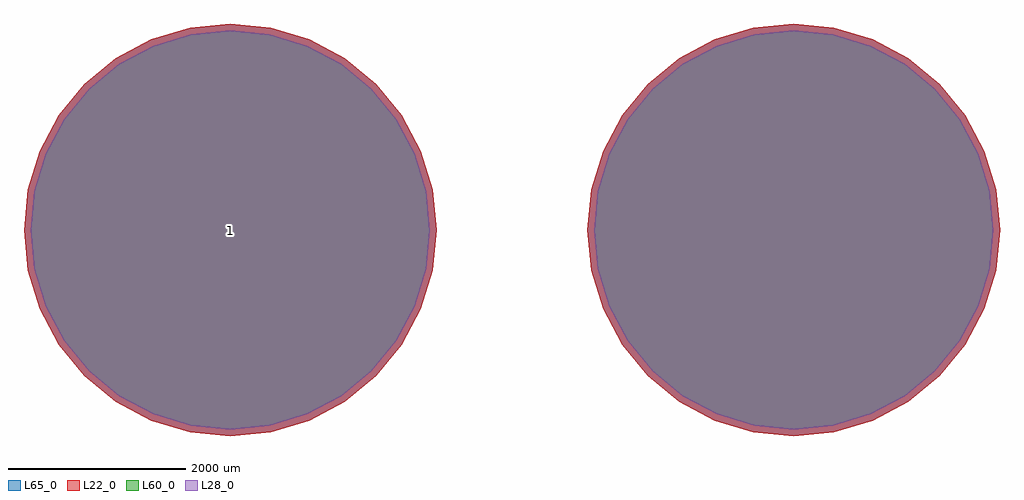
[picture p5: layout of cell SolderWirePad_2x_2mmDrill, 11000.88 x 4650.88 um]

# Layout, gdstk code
import gdstk
lib = gdstk.Library(unit=1e-6, precision=1e-09)
def P(c, l, *ps):  # polygons
    for p in ps: c.add(gdstk.Polygon(p, *l))
L22_0 = (22, 0)
L28_0 = (28, 0)
L60_0 = (60, 0)
L65_0 = (65, 0)

solderwirepad_2x_2mmdril = lib.new_cell('SolderWirePad_2x_2mmDrill')
P(solderwirepad_2x_2mmdril, L22_0, [(5500.44,0),(5455.757,453.671),(5323.426,889.907),(5108.533,1291.945),(4819.334,1644.334),(4466.945,1933.533),(4064.907,2148.426),(3628.671,2280.757),(3175,2325.44),(2721.329,2280.757),(2285.093,2148.426),(1883.055,1933.533),(1530.666,1644.334),(1241.467,1291.945),(1026.574,889.907),(894.243,453.671),(849.56,0),(894.243,-453.671),(1026.574,-889.907),(1241.467,-1291.945),(1530.666,-1644.334),(1883.055,-1933.533),(2285.093,-2148.426),(2721.329,-2280.757),(3175,-2325.44),(3628.671,-2280.757),(4064.907,-2148.426),(4466.945,-1933.533),(4819.334,-1644.334),(5108.533,-1291.945),(5323.426,-889.907),(5455.757,-453.671)],
  [(-849.56,0),(-894.243,453.671),(-1026.574,889.907),(-1241.467,1291.945),(-1530.666,1644.334),(-1883.055,1933.533),(-2285.093,2148.426),(-2721.329,2280.757),(-3175,2325.44),(-3628.671,2280.757),(-4064.907,2148.426),(-4466.945,1933.533),(-4819.334,1644.334),(-5108.533,1291.945),(-5323.426,889.907),(-5455.757,453.671),(-5500.44,0),(-5455.757,-453.671),(-5323.426,-889.907),(-5108.533,-1291.945),(-4819.334,-1644.334),(-4466.945,-1933.533),(-4064.907,-2148.426),(-3628.671,-2280.757),(-3175,-2325.44),(-2721.329,-2280.757),(-2285.093,-2148.426),(-1883.055,-1933.533),(-1530.666,-1644.334),(-1241.467,-1291.945),(-1026.574,-889.907),(-894.243,-453.671)])
P(solderwirepad_2x_2mmdril, L28_0, [(5425.44,0),(5382.198,439.039),(5254.135,861.206),(5046.172,1250.277),(4766.301,1591.301),(4425.277,1871.172),(4036.206,2079.135),(3614.039,2207.198),(3175,2250.44),(2735.961,2207.198),(2313.794,2079.135),(1924.723,1871.172),(1583.699,1591.301),(1303.828,1250.277),(1095.865,861.206),(967.802,439.039),(924.56,0),(967.802,-439.039),(1095.865,-861.206),(1303.828,-1250.277),(1583.699,-1591.301),(1924.723,-1871.172),(2313.794,-2079.135),(2735.961,-2207.198),(3175,-2250.44),(3614.039,-2207.198),(4036.206,-2079.135),(4425.277,-1871.172),(4766.301,-1591.301),(5046.172,-1250.277),(5254.135,-861.206),(5382.198,-439.039)],
  [(-924.56,0),(-967.802,439.039),(-1095.865,861.206),(-1303.828,1250.277),(-1583.699,1591.301),(-1924.723,1871.172),(-2313.794,2079.135),(-2735.961,2207.198),(-3175,2250.44),(-3614.039,2207.198),(-4036.206,2079.135),(-4425.277,1871.172),(-4766.301,1591.301),(-5046.172,1250.277),(-5254.135,861.206),(-5382.198,439.039),(-5425.44,0),(-5382.198,-439.039),(-5254.135,-861.206),(-5046.172,-1250.277),(-4766.301,-1591.301),(-4425.277,-1871.172),(-4036.206,-2079.135),(-3614.039,-2207.198),(-3175,-2250.44),(-2735.961,-2207.198),(-2313.794,-2079.135),(-1924.723,-1871.172),(-1583.699,-1591.301),(-1303.828,-1250.277),(-1095.865,-861.206),(-967.802,-439.039)])
P(solderwirepad_2x_2mmdril, L60_0, [(5425.44,0),(5382.198,439.039),(5254.135,861.206),(5046.172,1250.277),(4766.301,1591.301),(4425.277,1871.172),(4036.206,2079.135),(3614.039,2207.198),(3175,2250.44),(2735.961,2207.198),(2313.794,2079.135),(1924.723,1871.172),(1583.699,1591.301),(1303.828,1250.277),(1095.865,861.206),(967.802,439.039),(924.56,0),(967.802,-439.039),(1095.865,-861.206),(1303.828,-1250.277),(1583.699,-1591.301),(1924.723,-1871.172),(2313.794,-2079.135),(2735.961,-2207.198),(3175,-2250.44),(3614.039,-2207.198),(4036.206,-2079.135),(4425.277,-1871.172),(4766.301,-1591.301),(5046.172,-1250.277),(5254.135,-861.206),(5382.198,-439.039)],
  [(-924.56,0),(-967.802,439.039),(-1095.865,861.206),(-1303.828,1250.277),(-1583.699,1591.301),(-1924.723,1871.172),(-2313.794,2079.135),(-2735.961,2207.198),(-3175,2250.44),(-3614.039,2207.198),(-4036.206,2079.135),(-4425.277,1871.172),(-4766.301,1591.301),(-5046.172,1250.277),(-5254.135,861.206),(-5382.198,439.039),(-5425.44,0),(-5382.198,-439.039),(-5254.135,-861.206),(-5046.172,-1250.277),(-4766.301,-1591.301),(-4425.277,-1871.172),(-4036.206,-2079.135),(-3614.039,-2207.198),(-3175,-2250.44),(-2735.961,-2207.198),(-2313.794,-2079.135),(-1924.723,-1871.172),(-1583.699,-1591.301),(-1303.828,-1250.277),(-1095.865,-861.206),(-967.802,-439.039)])
P(solderwirepad_2x_2mmdril, L65_0, [(5500.44,0),(5455.757,453.671),(5323.426,889.907),(5108.533,1291.945),(4819.334,1644.334),(4466.945,1933.533),(4064.907,2148.426),(3628.671,2280.757),(3175,2325.44),(2721.329,2280.757),(2285.093,2148.426),(1883.055,1933.533),(1530.666,1644.334),(1241.467,1291.945),(1026.574,889.907),(894.243,453.671),(849.56,0),(894.243,-453.671),(1026.574,-889.907),(1241.467,-1291.945),(1530.666,-1644.334),(1883.055,-1933.533),(2285.093,-2148.426),(2721.329,-2280.757),(3175,-2325.44),(3628.671,-2280.757),(4064.907,-2148.426),(4466.945,-1933.533),(4819.334,-1644.334),(5108.533,-1291.945),(5323.426,-889.907),(5455.757,-453.671)],
  [(-849.56,0),(-894.243,453.671),(-1026.574,889.907),(-1241.467,1291.945),(-1530.666,1644.334),(-1883.055,1933.533),(-2285.093,2148.426),(-2721.329,2280.757),(-3175,2325.44),(-3628.671,2280.757),(-4064.907,2148.426),(-4466.945,1933.533),(-4819.334,1644.334),(-5108.533,1291.945),(-5323.426,889.907),(-5455.757,453.671),(-5500.44,0),(-5455.757,-453.671),(-5323.426,-889.907),(-5108.533,-1291.945),(-4819.334,-1644.334),(-4466.945,-1933.533),(-4064.907,-2148.426),(-3628.671,-2280.757),(-3175,-2325.44),(-2721.329,-2280.757),(-2285.093,-2148.426),(-1883.055,-1933.533),(-1530.666,-1644.334),(-1241.467,-1291.945),(-1026.574,-889.907),(-894.243,-453.671)])
solderwirepad_2x_2mmdril.add(gdstk.Label('1', (-3175,0), layer=28, texttype=0))
solderwirepad_2x_2mmdril.add(gdstk.Label('type', (635,-3810), layer=9, texttype=0))
solderwirepad_2x_2mmdril.add(gdstk.Label('devicename', (0,3810), layer=9, texttype=0))

lib.write_gds('SolderWirePad_2x_2mmDrill.gds')
